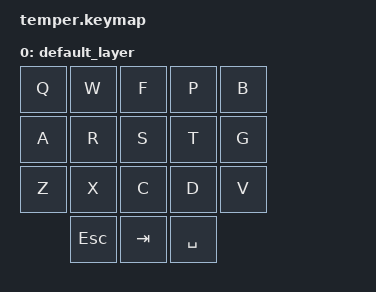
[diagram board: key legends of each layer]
/*
 * Copyright (c) 2020 The ZMK Contributors
 *
 * SPDX-License-Identifier: MIT
 */

#include <behaviors.dtsi>
#include <dt-bindings/zmk/keys.h>

/ {
    keymap {
        compatible = "zmk,keymap";

        default_layer {
            bindings = <
                &kp Q    &kp W    &kp F    &kp P    &kp B    
                &kp A    &kp R    &kp S    &kp T    &kp G    
                &kp Z    &kp X    &kp C    &kp D    &kp V    
                         &kp ESC  &kp TAB  &kp SPACE
            >;
        };
    };
};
